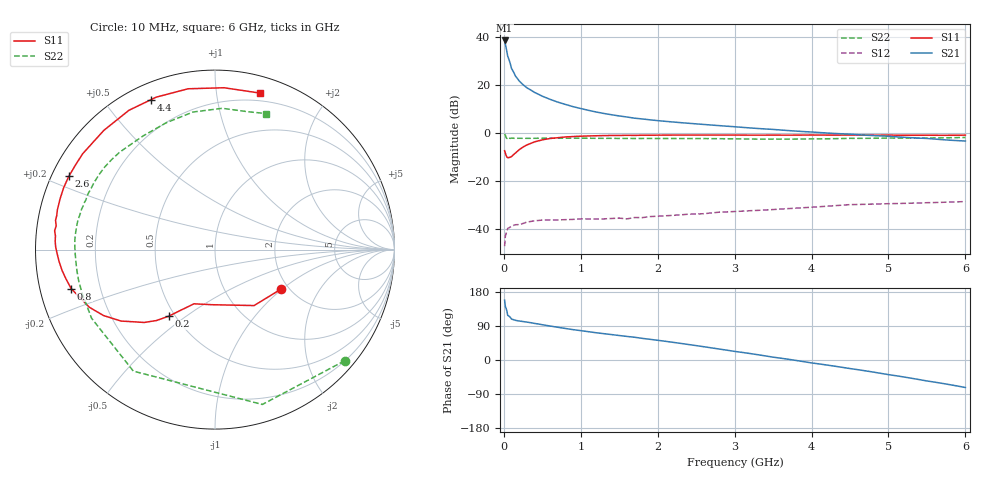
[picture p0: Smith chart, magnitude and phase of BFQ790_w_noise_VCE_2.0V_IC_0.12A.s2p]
! (c) 2015  Infineon Technologies AG, Munich
! Infineon Technologies  Discrete & RF Semiconductors
! BFQ790
! VCE =  2.0 V,  IC = 0.12 A
! Common Emitter S-Parameters:  May 2015
# GHz  S  MA  R  50
!  f  S11  S21  S12  S22
! GHz  MAG  ANG  MAG  ANG  MAG  ANG  MAG  ANG
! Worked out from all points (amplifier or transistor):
!   77 points, 10 MHz to 6 GHz, reference 50 ohm
!   highest |S21| = 38.6 dB at 10 MHz (marker M1)
!   |S21| within 3 dB of that: start of sweep to 29.55 MHz
!   unconditionally stable (mu >= 1): 1.09 GHz to end of sweep
!   at 130 MHz: K = 0.68, MSG = 31.8 dB, |S12| = -38.4 dB
!   at 2.2 GHz: K = 1.22, MAG = 16.6 dB, |S12| = -34.3 dB
!   at 6 GHz: K = 1.20, MAG = 9.9 dB, |S12| = -28.5 dB
!   lowest NFmin = 2.73 dB at 1.5 GHz
!   S11 on the Smith chart (normalised r, x): 10 MHz: 1.82, -0.98; 200 MHz: 0.46, -0.43; 800 MHz: 0.09, -0.13; 2.6 GHz: 0.05, +0.24; 4.4 GHz: 0.07, +0.66; 6 GHz: 0.13, +1.32
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0.01  0.4285 -31.0  85.1 158.0  0.0044 69.6  0.9516 -40.6
0.02  0.3802 -55.1  70.87 141.0  0.0072 53.9  0.9023 -73.0
0.05  0.3074 -91.8  40.15 117.9  0.0103 29.9  0.8157 -123.9
0.1  0.324 -111.2  22.15 107.8  0.0115 19.5  0.7868 -150.9
0.15  0.3833 -119.0  15.54 104.7  0.0123 18.6  0.7794 -161.5
0.2  0.4506 -124.7  12.19 102.9  0.0124 19.9  0.7791 -167.2
0.25  0.512 -129.5  10.18 101.5  0.0131 18.4  0.7782 -170.9
0.3  0.5663 -134.2  8.77 100.0  0.014 16.0  0.7779 -173.7
0.4  0.6572 -142.7  7.024 96.5  0.0149 13.7  0.779 -178.0
0.5  0.7217 -149.4  5.866 93.1  0.0154 11.9  0.7811 179.0
0.6  0.7706 -155.4  5.056 89.7  0.0155 11.0  0.7826 176.4
0.7  0.8 -160.7  4.421 86.4  0.0155 11.7  0.7828 174.2
0.8  0.8303 -164.8  3.956 83.2  0.0157 7.2  0.7819 172.4
1.1  0.8711 -175.6  2.977 74.7  0.0162 7.2  0.7802 167.3
1.5  0.8921 175.1  2.274 64.6  0.0169 8.1  0.7738 161.7
2.1  0.9064 163.9  1.758 49.4  0.0189 6.2  0.77 152.9
2.6  0.9112 153.4  1.512 35.0  0.0209 4.1  0.7678 143.3
3.1  0.9072 141.9  1.316 20.0  0.0236 -3.0  0.7548 132.0
4.1  0.9094 119.6  1.027 -10.4  0.0292 -16.1  0.7584 108.5
4.4  0.9082 113.2  0.964 -19.4  0.0315 -21.1  0.7698 101.4
5.1  0.9039 97.0  0.837 -41.6  0.034 -34.9  0.7865 85.0
6  0.907 74.1  0.683 -72.6  0.0374 -54.8  0.8094 69.5
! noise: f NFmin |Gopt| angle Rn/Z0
0.45  4.3  0.41  134  0.42
0.9  3.08  0.54  164  0.15
1.5  2.73  0.66  -174  0.08
1.8  2.83  0.68  -169  0.08
2.6  3.21  0.73  -152  0.21
3.5  3.79  0.83  -136  0.49
